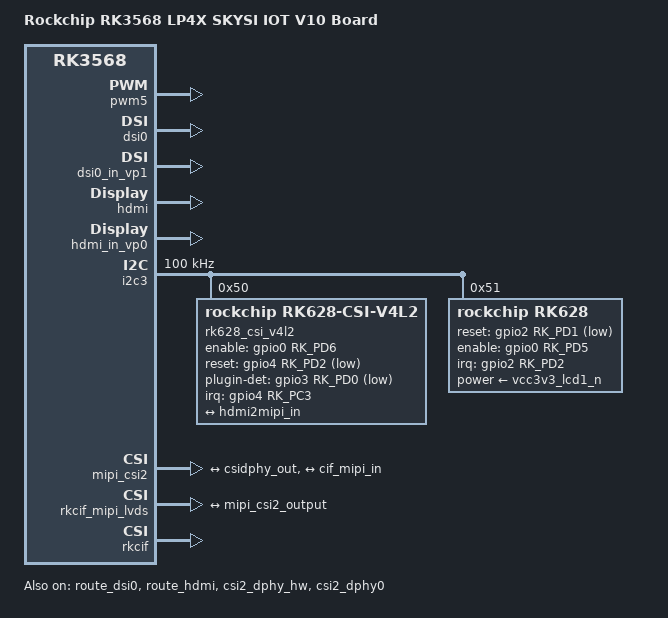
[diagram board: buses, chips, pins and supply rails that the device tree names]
// SPDX-License-Identifier: (GPL-2.0+ OR MIT)
/*
 * Copyright (c) 2020 Rockchip Electronics Co., Ltd.
 *
 */

#include "rk3568-evb-lp4x-s1-v10.dtsi"
#include "rk3568-android.dtsi"
/{
	model = "Rockchip RK3568 LP4X SKYSI IOT V10 Board";
	compatible = "rockchip,rk3568-iot-lp4x-s1-v10-lvds-rk628-gvi", "rockchip,rk3568";
};

&backlight {
	enable-gpios = <&gpio0 RK_PC1 GPIO_ACTIVE_HIGH>;
};

&backlight1 {
	enable-gpios = <&gpio0 RK_PC5 GPIO_ACTIVE_HIGH>;
};


&vcc3v3_lcd1_n {
	gpio = <&gpio0 RK_PD4 GPIO_ACTIVE_HIGH>;
};

&pwm5 {
	status = "okay";
};

/*
 * video_phy0 needs to be enabled
 * when dsi0 is enabled
 */
&dsi0 {
	status = "okay";
};

&dsi0_in_vp0 {
	status = "disabled";
};

&dsi0_in_vp1 {
	status = "okay";
};

&dsi0_panel {
	power-supply = <&vcc3v3_lcd0_n>;
	reset-gpios = <&gpio0 RK_PC0 GPIO_ACTIVE_HIGH>;
	prepare-delay-ms = <2>;
	reset-delay-ms = <5>;
	init-delay-ms = <2>;

	panel-init-sequence = [
		23 00 02 27 AA
		23 00 02 48 02
		23 00 02 B6 20
		23 00 02 01 80
		23 00 02 02 38
		23 00 02 03 47
		23 00 02 04 58
		23 00 02 05 2C
		23 00 02 06 94
		23 00 02 07 00
		23 00 02 08 04
		23 00 02 09 05
		23 00 02 0A 24
		23 00 02 0B 82
		23 00 02 0C 13
		23 00 02 0D 01
		23 00 02 0E 80
		23 00 02 0F 20
		23 00 02 10 20
		23 00 02 11 03
		23 00 02 12 1B
		23 00 02 13 63
		23 00 02 14 01
		23 00 02 15 23
		23 00 02 16 40
		23 00 02 17 00
		23 00 02 18 01
		23 00 02 19 23
		23 00 02 1A 40
		23 00 02 1B 00
		23 00 02 1E 46
		23 00 02 51 30
		23 00 02 1F 10
		23 00 02 2A 01
		23 00 02 3F AA
		23 00 02 41 0d
		23 00 02 42 d6
		23 00 02 3F BB
		23 00 02 41 0d
		23 00 02 42 d6
		23 00 02 6A 08
		23 00 02 6C 9E
		23 00 02 6D 07
		23 00 02 6E 00
		23 00 02 6F 8A
		23 00 02 70 19
		23 18 02 71 00
	];

	disp_timings0: display-timings {
		native-mode = <&dsi0_timing0>;
		dsi0_timing0: timing0 {
			clock-frequency = <148500000>;
			hactive = <1920>;
			vactive = <1080>;
			hfront-porch = <88>;
			hsync-len = <44>;
			hback-porch = <148>;
			vfront-porch = <4>;
			vsync-len = <5>;
			vback-porch = <36>;
			hsync-active = <0>;
			vsync-active = <0>;
			de-active = <0>;
			pixelclk-active = <0>;
		};
	};
};

&route_dsi0 {
	status = "okay";
	connect = <&vp1_out_dsi0>;
};


&route_hdmi {
	status = "okay";
	connect = <&vp0_out_hdmi>;
};

&hdmi {
	status = "okay";
};

&hdmi_in_vp0 {
	status = "okay";
};

&hdmi_in_vp1 {
	status = "disabled";
};


&i2c3 {
	clock-frequency = <100000>;
	status = "okay";

    rk628_csi_v4l2: rk628_csi_v4l2@50 {
		/* csi->csi:rk628-csi-v4l2 dsi->csi:rk628-dsi-v4l2 */
		compatible = "rockchip,rk628-csi-v4l2";
		reg = <0x50>;
		//clocks = <&ext_cam_clk>;
		//clock-names = "xvclk";
		interrupt-parent = <&gpio4>;
		interrupts = <RK_PC3 IRQ_TYPE_LEVEL_LOW>;   
		pinctrl-names = "default";
		pinctrl-0 = <&rk628_irq &rk628_det>;
		//hdcp-enable = <1>;
		//power-gpios = <&gpio0 RK_PD5 GPIO_ACTIVE_HIGH>;
		enable-gpios = <&gpio0 RK_PD6 GPIO_ACTIVE_HIGH>;
		reset-gpios = <&gpio4 RK_PD2 GPIO_ACTIVE_LOW>;
		plugin-det-gpios = <&gpio3 RK_PD0 GPIO_ACTIVE_LOW>;
		rockchip,camera-module-index = <0>;
		rockchip,camera-module-facing = "back";
		rockchip,camera-module-name = "RK628-CSI";
		rockchip,camera-module-lens-name = "NC";
		port {
			rk628_out: endpoint {
				remote-endpoint = <&hdmi2mipi_in>;
				data-lanes = <1 2 3 4>;
			};
		};
	};		

   rk628: rk628@51 {
		status = "okay";
		compatible = "rockchip,rk628";
		reg = <0x51>;
		power-supply = <&vcc3v3_lcd1_n>;
		interrupt-parent = <&gpio2>;
		interrupts = <RK_PD2 IRQ_TYPE_LEVEL_HIGH>;
		reset-gpios = <&gpio2 RK_PD1 GPIO_ACTIVE_LOW>;
		enable-gpios = <&gpio0 RK_PD5 GPIO_ACTIVE_HIGH>;
		panel-backlight = <&backlight1>;
		pinctrl-names = "default";
		pinctrl-0 = <&refclk_pins>;
		assigned-clocks = <&pmucru CLK_WIFI>;
		assigned-clock-rates = <24000000>;
		clocks = <&pmucru CLK_WIFI>;
		clock-names = "soc_24M";

		rk628,hdmi-in;
		src-mode-4k-yuv420;

		rk628-gvi {
			/* "rgb666"
			 * "rgb888"
			 * "rgb101010"
			 * "yuyv8"
			 * "yuyv10"
			 */
			bus-format = "rgb888";
			gvi,lanes = <8>;
			rockchip,division-mode;
			//"rockchip, gvi-frm-rst";
			status = "okay";
		};

		display-timings {
			src-timing {
				clock-frequency = <148500000>;
				hactive = <1920>;
				vactive = <1080>;
				hback-porch = <148>;
				hfront-porch = <88>;
				vback-porch = <36>;
				vfront-porch = <4>;
				hsync-len = <44>;
				vsync-len = <5>;
				hsync-active = <0>;
				vsync-active = <0>;
				de-active = <0>;
				pixelclk-active = <0>;
			};

			dst-timing {
				clock-frequency = <594000000>;
				hactive = <3840>;
				vactive = <2160>;
				hback-porch = <308>;
				hfront-porch = <164>;
				hsync-len = <88>;
				vback-porch = <72>;
				vfront-porch = <8>;
				vsync-len = <10>;
				hsync-active = <0>;
				vsync-active = <0>;
				de-active = <0>;
				pixelclk-active = <0>;
			};
		};
	};
};




&mipi_csi2 {
	status = "okay";

	ports {
		#address-cells = <1>;
		#size-cells = <0>;

		port@0 {
			reg = <0>;
			#address-cells = <1>;
			#size-cells = <0>;

			mipi_csi2_input: endpoint@1 {
				reg = <1>;
				remote-endpoint = <&csidphy_out>;
				data-lanes = <1 2 3 4>;
			};
		};

		port@1 {
			reg = <1>;
			#address-cells = <1>;
			#size-cells = <0>;

			mipi_csi2_output: endpoint@0 {
				reg = <0>;
				remote-endpoint = <&cif_mipi_in>;
				data-lanes = <1 2 3 4>;
			};
		};
	};
};

&rkcif_mipi_lvds {
	status = "okay";

	port {
		cif_mipi_in: endpoint {
			remote-endpoint = <&mipi_csi2_output>;
			data-lanes = <1 2 3 4>;
		};
	};
};



&rkcif_mmu {
	status = "okay";
};

&rkcif_dvp_sditf {
	status = "disabled";
};

&rkcif {
	status = "okay";
};

&csi2_dphy_hw {
	status = "okay";
};

&csi2_dphy0 {
	status = "okay";

	ports {
		#address-cells = <1>;
		#size-cells = <0>;
		port@0 {
			reg = <0>;
			#address-cells = <1>;
			#size-cells = <0>;

			hdmi2mipi_in: endpoint@0 {
				reg = <1>;
				remote-endpoint = <&rk628_out>;
				data-lanes = <1 2 3 4>;
			};
		};

		port@1 {
			reg = <1>;
			#address-cells = <1>;
			#size-cells = <0>;

			csidphy_out: endpoint@0 {
				reg = <0>;
				remote-endpoint = <&mipi_csi2_input>;
			};
		};
	};
};

&rkisp {
	status = "disabled";
};

&rkisp_mmu {
	status = "disabled";
};

&rkisp_vir0 {
	status = "disabled";

	port {
		#address-cells = <1>;
		#size-cells = <0>;

		isp0_in: endpoint@0 {
			reg = <0>;
			remote-endpoint = <&csidphy_out>;
		};
	};
};




&pinctrl {
	rk628-csi {
		rk628_irq: rk628-irq {
			rockchip,pins = <4 RK_PC3 RK_FUNC_GPIO &pcfg_pull_up>;
		};
		rk628_det: rk628-det {
			rockchip,pins = <3 RK_PD0 RK_FUNC_GPIO &pcfg_pull_up>;
		};
	};
};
